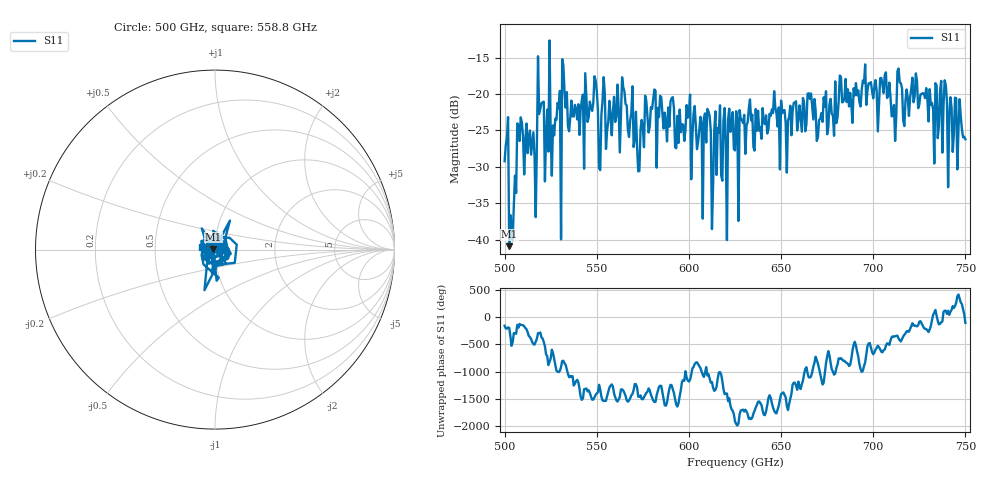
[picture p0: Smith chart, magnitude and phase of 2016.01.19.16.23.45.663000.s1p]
!Created with skrf (http://scikit-rf.org).
# GHz S RI R 50.0
!freq ReS11 ImS11
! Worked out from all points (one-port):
!   401 points, 500 GHz to 750 GHz, reference 50 ohm
!   lowest |S11| = -40.9 dB at 502.5 GHz (marker M1), VSWR 1.02, Z = 49.2 + j0.286 ohm
!   |S11| at or under -10 dB: start of sweep to end of sweep
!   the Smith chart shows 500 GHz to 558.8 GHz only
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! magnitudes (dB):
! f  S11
! 500 GHz  -29.2
! 502.5 GHz  -40.9
! 503.8 GHz  -37.9
! 508.1 GHz  -26.4
! 515.6 GHz  -25.3
! 519.4 GHz  -22.0
! 522.5 GHz  -25.8
! 531.2 GHz  -15.2
! 532.5 GHz  -19.6
! 535.6 GHz  -23.2
! 549.4 GHz  -18.1
! 551.9 GHz  -30.4
! 562.5 GHz  -28.0
! 565 GHz  -19.6
! 571.9 GHz  -27.3
! 580.6 GHz  -20.7
! 593.8 GHz  -23.0
! 599.4 GHz  -23.2
! 606.2 GHz  -23.1
! 610 GHz  -22.0
! 613.8 GHz  -25.0
! 615.6 GHz  -24.7
! 619.4 GHz  -21.9
! 625 GHz  -27.7
! 656.2 GHz  -22.4
! 687.5 GHz  -19.8
! 718.8 GHz  -20.5
! 750 GHz  -26.2
